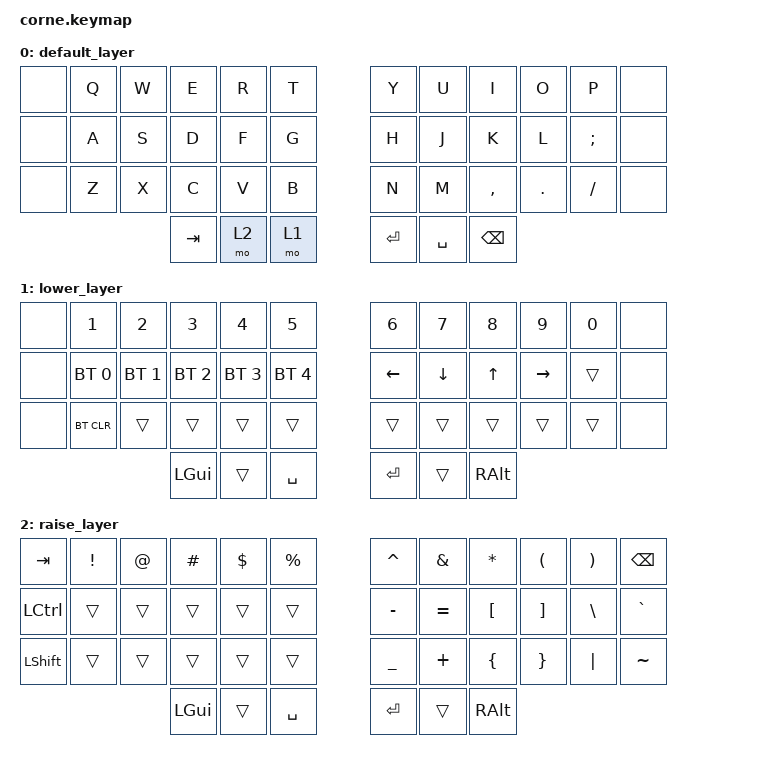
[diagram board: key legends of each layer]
/*
 * Copyright (c) 2020 The ZMK Contributors
 *
 * SPDX-License-Identifier: MIT
 */

#include <behaviors.dtsi>
#include <dt-bindings/zmk/keys.h>
#include <dt-bindings/zmk/bt.h>

/ {
        keymap {
                compatible = "zmk,keymap";

                default_layer {
// -----------------------------------------------------------------------------------------
// | NONE |  Q  |  W  |  E  |  R  |  T  |   |  Y  |  U   |  I  |  O  |  P  | NONE |
// | NONE |  A  |  S  |  D  |  F  |  G  |   |  H  |  J   |  K  |  L  |  ;  | NONE |
// | NONE |  Z  |  X  |  C  |  V  |  B  |   |  N  |  M   |  ,  |  .  |  /  | NONE |
//                    | TAB | RSE | LWR |   | ENT | SPC  |BSPC |
                        bindings = <
   &none   &kp Q &kp W &kp E &kp R &kp T   &kp Y &kp U  &kp I     &kp O   &kp P    &none
   &none   &kp A &kp S &kp D &kp F &kp G   &kp H &kp J  &kp K     &kp L   &kp SEMI &none 
   &none   &kp Z &kp X &kp C &kp V &kp B   &kp N &kp M  &kp COMMA &kp DOT &kp FSLH &none
                    &kp TAB &mo 2  &mo 1   &kp RET &kp SPACE &kp BSPC 
                        >;
                };
                lower_layer {
// -----------------------------------------------------------------------------------------
// | NONE |  1  |  2  |  3  |  4  |  5  |   |  6  |  7  |  8  |  9  |  0  | NONE |
// | NONE | BT1 | BT2 | BT3 | BT4 | BT5 |   | LFT | DWN |  UP | RGT |     | NONE |
// | NONE |BTCLR|     |     |     |     |   |     |     |     |     |     | NONE |
//                    | GUI |     | SPC |   | ENT |     | ALT |
                        bindings = <
   &none   &kp N1       &kp N2       &kp N3       &kp N4       &kp N5         &kp N6   &kp N7   &kp N8 &kp N9    &kp N0 &none
   &none   &bt BT_SEL 0 &bt BT_SEL 1 &bt BT_SEL 2 &bt BT_SEL 3 &bt BT_SEL 4   &kp LEFT &kp DOWN &kp UP &kp RIGHT &trans &none
   &none   &bt BT_CLR   &trans       &trans       &trans       &trans         &trans   &trans   &trans &trans    &trans &none
                                     &kp LGUI     &trans       &kp SPACE      &kp RET  &trans   &kp RALT
                        >;
                };

                raise_layer {
// -----------------------------------------------------------------------------------------
// |  TAB |  !  |  @  |  #  |  $  |  %  |   |  ^  |  &  |  *  |  (  |  )  | BSPC |
// | CTRL |     |     |     |     |     |   |  -  |  =  |  [  |  ]  |  \  |  `   |
// | SHFT |     |     |     |     |     |   |  _  |  +  |  {  |  }  | "|" |  ~   |
//                    | GUI |     | SPC |   | ENT |     | ALT |
                        bindings = <
   &kp  TAB  &kp EXCL &kp AT &kp HASH &kp DLLR &kp PRCNT   &kp CARET &kp AMPS  &kp ASTRK &kp LPAR &kp RPAR &kp BSPC
   &kp LCTRL &trans   &trans &trans   &trans   &trans      &kp MINUS &kp EQUAL &kp LBKT  &kp RBKT &kp BSLH &kp GRAVE
   &kp LSHFT &trans   &trans &trans   &trans   &trans      &kp UNDER &kp PLUS  &kp LBRC  &kp RBRC &kp PIPE &kp TILDE
                             &kp LGUI &trans   &kp SPACE   &kp RET   &trans    &kp RALT
                        >;
                };
        };
};
